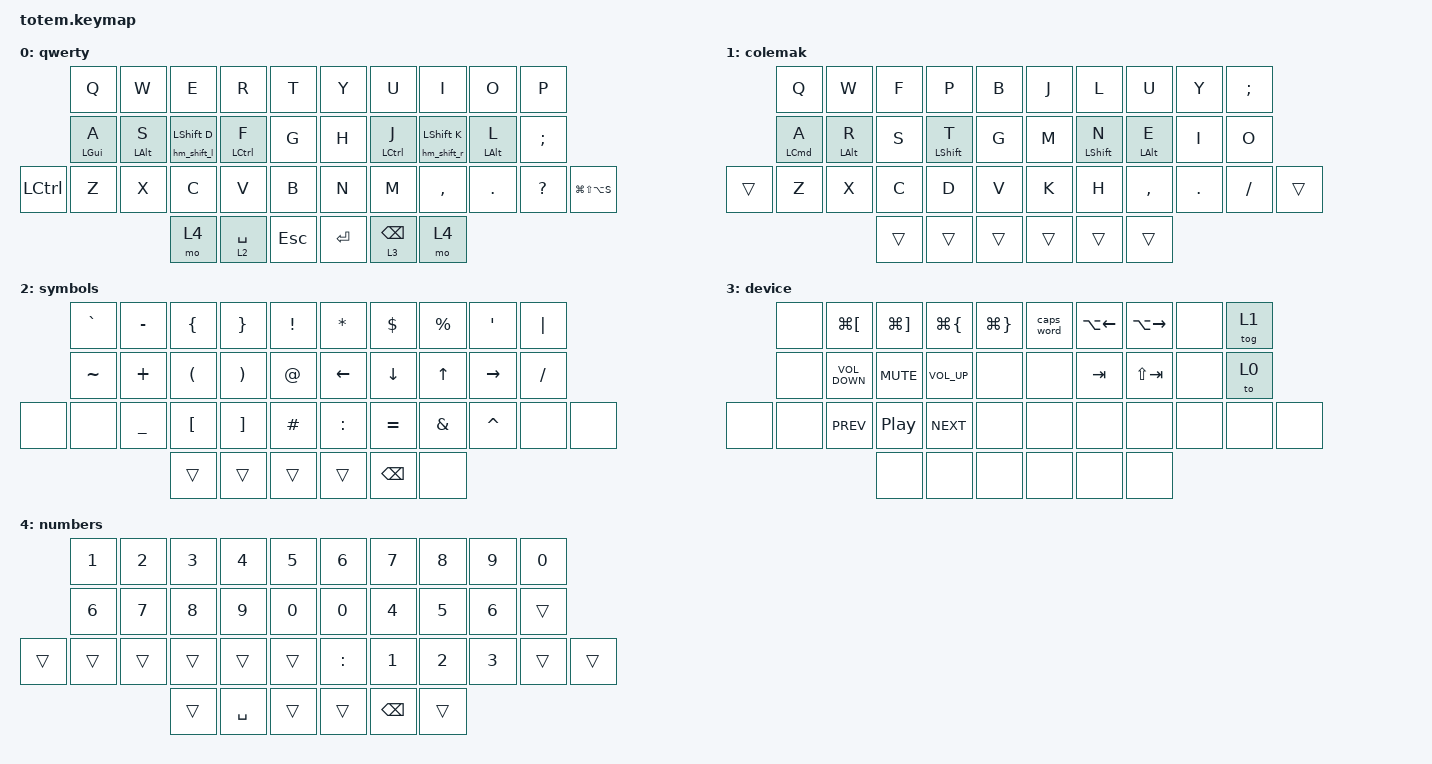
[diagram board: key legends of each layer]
#include "zmk-helpers/key-labels/totem.h"
#include <zmk-helpers/helper.h> // Requires zmk-helpers module.

#define QWERTY 0
#define COLEMAK 1
#define SYMBOLS 2
#define DEVICE 3
#define NUMBERS 4
#define MOUSE 5
#define KEYS_L LT0 LT1 LT2 LT3 LT4 LM0 LM1 LM2 LM3 LM4 LB0 LB1 LB2 LB3 LB4
#define KEYS_R RT0 RT1 RT2 RT3 RT4 RM0 RM1 RM2 RM3 RM4 RB0 RB1 RB2 RB3 RB4
#define KEYS_T LH2 LH1 LH0 RH0 RH1 RH2 // Thumbs on 36+ keys.

#include "includes/behav_home_row_mods.dtsi"
#include <dt-bindings/zmk/mouse.h>
#include <behaviors.dtsi>
#include <dt-bindings/zmk/keys.h>
#include "mouse.dtsi"

#define XXX &none
#define ___ &trans
#define QUICK_TAP_MS 175

&lt {
    tapping-term-ms = <200>;
    flavor = "balanced";
    quick-tap-ms = <150>;
};

&mt {
    tapping-term-ms = <280>;
    quick-tap-ms = <175>;
    global-quick-tap;
    flavor = "balanced";
};

#include "combos.dtsi" // Must be sourced after HRM-combo hack.

/ {
    combos {
        compatible = "zmk,combos";

        tmux-next-window {
            bindings = <&tmux_next_window>;
            key-positions = <17 18>;
        };

        tmux-prev-window {
            bindings = <&tmux_previous_window>;
            key-positions = <17 16>;
        };

        tmux-new-window {
            bindings = <&tmux_new_window>;
            key-positions = <6 7>;
        };
    };

    macros {
        tmux_next_window: tmux_next_window {
            compatible = "zmk,behavior-macro";
            #binding-cells = <0>;
            bindings = <&kp LC(A) &kp N>;
            label = "TMUX_NEXT_WINDOW";
        };

        tmux_previous_window: tmux_previous_window {
            compatible = "zmk,behavior-macro";
            #binding-cells = <0>;
            bindings = <&kp LC(A) &kp H>;
            label = "TMUX_PREVIOUS_WINDOW";
        };

        tmux_new_window: tmux_new_window {
            compatible = "zmk,behavior-macro";
            #binding-cells = <0>;
            bindings = <&kp LC(A) &kp C>;
            label = "TMUX_NEW_WINDOW";
        };
    };

    keymap {
        compatible = "zmk,keymap";

        qwerty {
            bindings = <
           &kp Q         &kp W         &kp E                 &kp R          &kp T         &kp Y      &kp U            &kp I                 &kp O         &kp P
           &hm_l LGUI A  &hm_l LALT S  &hm_shift_l LSHIFT D  &hm_l LCTRL F  &kp G         &kp H      &hm_r LCTRL J    &hm_shift_r LSHIFT K  &hm_r LALT L  &kp SEMI
&kp LCTRL  &kp Z         &kp X         &kp C                 &kp V          &kp B         &kp N      &kp M            &kp COMMA             &kp DOT       &kp QUESTION  &kp LG(LS(LA(S)))
                                       &mo 4                 &lt 2 SPACE    &kp ESCAPE    &kp ENTER  &lt 3 BACKSPACE  &mo 4
            >;
        };

        colemak {
            bindings = <
        &kp Q               &kp W           &kp F   &kp P             &kp B     &kp J   &kp L             &kp U           &kp Y    &kp SEMICOLON
        &mt LEFT_COMMAND A  &mt LEFT_ALT R  &kp S   &mt LEFT_SHIFT T  &kp G     &kp M   &mt LEFT_SHIFT N  &mt LEFT_ALT E  &kp I    &kp O
&trans  &kp Z               &kp X           &kp C   &kp D             &kp V     &kp K   &kp H             &kp COMMA       &kp DOT  &kp FSLH       &trans
                                            &trans  &trans            &trans    &trans  &trans            &trans
            >;
        };

        symbols {
            bindings = <
       &kp GRAVE  &kp MINUS  &kp LEFT_BRACE        &kp RIGHT_BRACE        &kp EXCLAMATION    &kp ASTERISK  &kp DOLLAR      &kp PERCENT    &kp SQT    &kp PIPE
       &kp TILDE  &kp PLUS   &kp LEFT_PARENTHESIS  &kp RIGHT_PARENTHESIS  &kp AT_SIGN        &kp LEFT      &kp DOWN_ARROW  &kp UP_ARROW   &kp RIGHT  &kp SLASH
&none  &none      &kp UNDER  &kp LEFT_BRACKET      &kp RIGHT_BRACKET      &kp HASH           &kp COLON     &kp EQUAL       &kp AMPERSAND  &kp CARET  &none      &none
                             &trans                &trans                 &trans             &trans        &kp BACKSPACE   &none
            >;
        };

        device {
            bindings = <
       &none  &kp LG(LEFT_BRACKET)  &kp LG(RIGHT_BRACKET)  &kp LG(LEFT_BRACE)  &kp LG(RIGHT_BRACE)    &caps_word  &kp LA(LEFT)  &kp LA(RIGHT)  &none  &tog 1
       &none  &kp C_VOLUME_DOWN     &kp K_MUTE             &kp C_VOLUME_UP     &none                  &none       &kp TAB       &kp LS(TAB)    &none  &to 0
&none  &none  &kp C_PREV            &kp C_PLAY_PAUSE       &kp C_NEXT          &none                  &none       &none         &none          &none  &none   &none
                                    &none                  &none               &none                  &none       &none         &none
            >;
        };

        numbers {
            bindings = <
        &kp NUMBER_1  &kp NUMBER_2  &kp NUMBER_3  &kp NUMBER_4  &kp N5    &kp NUMBER_6  &kp N7         &kp N8        &kp N9        &kp N0
        &kp NUMBER_6  &kp N7        &kp N8        &kp N9        &kp N0    &kp N0        &kp NUMBER_4   &kp N5        &kp NUMBER_6  &trans
&trans  &trans        &trans        &trans        &trans        &trans    &kp COLON     &kp NUMBER_1   &kp NUMBER_2  &kp NUMBER_3  &trans  &trans
                                    &trans        &kp SPACE     &trans    &trans        &kp BACKSPACE  &trans
            >;
        };
    };

    conditional_layers { compatible = "zmk,conditional-layers"; };
};
